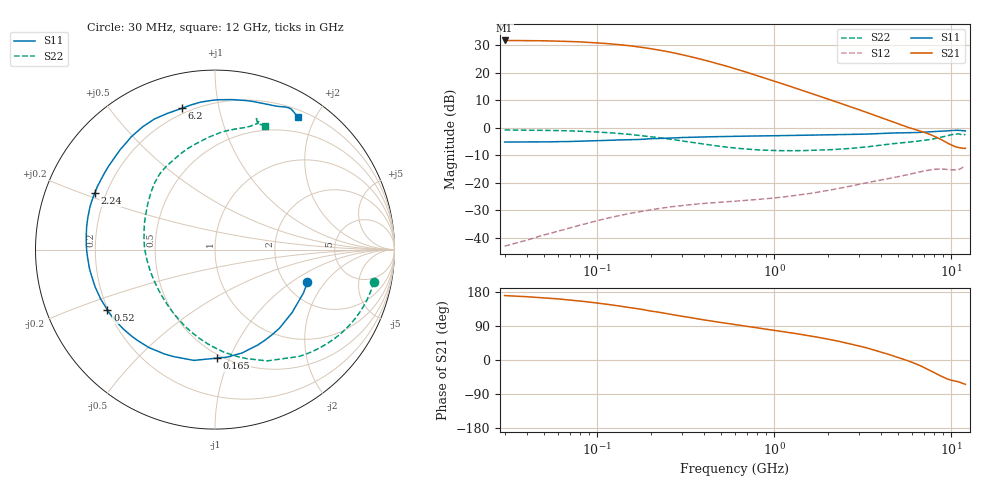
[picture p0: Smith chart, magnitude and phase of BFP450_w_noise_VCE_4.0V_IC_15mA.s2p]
! (c) 2015  Infineon Technologies AG, Munich
! Infineon Technologies  Discrete & RF Semiconductors
! BFP450
! VCE =  4.0 V,  IC =  15 mA
! Common Emitter S-Parameters:  Nov 2015
# GHz  S  MA  R  50
!  f  S11  S21  S12  S22
! GHz  MAG  ANG  MAG  ANG  MAG  ANG  MAG  ANG
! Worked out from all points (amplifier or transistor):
!   239 points, 30 MHz to 12 GHz, reference 50 ohm
!   highest |S21| = 31.6 dB at 30 MHz (marker M1)
!   |S21| within 3 dB of that: start of sweep to 201 MHz
!   unconditionally stable (mu >= 1): 1.851 GHz to end of sweep
!   at 300 MHz: K = 0.26, MSG = 27.4 dB, |S12| = -28.3 dB
!   at 1.88 GHz: K = 1.01, MAG = 16.6 dB, |S12| = -23.2 dB
!   at 12 GHz: K = 1.12, MAG = 1.1 dB, |S12| = -14.0 dB
!   lowest NFmin = 1.04 dB at 450 MHz
!   S11 on the Smith chart (normalised r, x): 30 MHz: 2.62, -1.35; 165 MHz: 0.47, -0.90; 520 MHz: 0.20, -0.25; 2.24 GHz: 0.16, +0.22; 6.2 GHz: 0.17, +0.78; 12 GHz: 0.29, +1.77
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0.03  0.5454 -19.4  38.21 170.0  0.007 63.4  0.9042 -11.5
0.04  0.5488 -25.9  37.93 167.0  0.009 66.2  0.8978 -15.2
0.055  0.5502 -35.8  37.4 162.6  0.0121 65.7  0.8857 -20.8
0.075  0.5615 -47.9  36.27 156.9  0.0159 63.5  0.8632 -28.1
0.085  0.5679 -53.1  35.61 154.3  0.0177 62.3  0.8506 -31.6
0.115  0.5842 -68.4  33.42 146.7  0.0226 58.1  0.8077 -41.5
0.15  0.6029 -83.6  30.86 138.7  0.0273 53.3  0.7562 -52.0
0.165  0.6047 -88.9  29.65 136.1  0.0287 51.3  0.731 -55.6
0.2  0.6284 -100.8  27.12 129.2  0.0321 47.3  0.6847 -64.9
0.24  0.6393 -111.2  24.53 123.4  0.035 43.5  0.634 -73.5
0.3  0.6587 -124.1  21.14 115.5  0.0383 39.3  0.5727 -85.2
0.36  0.669 -133.6  18.42 109.6  0.0406 36.4  0.5252 -94.7
0.45  0.6814 -144.5  15.26 102.1  0.0431 33.4  0.4743 -107.0
0.52  0.6872 -150.7  13.44 97.8  0.0446 32.2  0.4471 -114.6
0.6  0.6942 -156.8  11.69 93.3  0.0461 31.2  0.4247 -122.6
0.9  0.7078 -171.8  7.789 81.3  0.051 30.7  0.3874 -143.8
1.2  0.7178 178.1  5.743 72.7  0.0561 31.5  0.3798 -158.4
1.64  0.7293 167.1  4.109 62.6  0.0645 32.3  0.3854 -173.8
2.24  0.7407 154.9  2.921 50.6  0.0768 31.5  0.4015 170.2
4.5  0.7942 120.4  1.319 13.5  0.1195 17.8  0.5025 131.8
6.2  0.8087 103.3  0.925 -8.7  0.1488 5.1  0.5583 112.3
12  0.8688 58.0  0.419 -64.3  0.1997 -38.5  0.7453 68.0
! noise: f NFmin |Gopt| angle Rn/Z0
0.45  1.04  0.28  177  0.05
0.9  1.09  0.34  174  0.07
1.9  1.26  0.48  -168  0.06
2.4  1.42  0.51  -157  0.08
